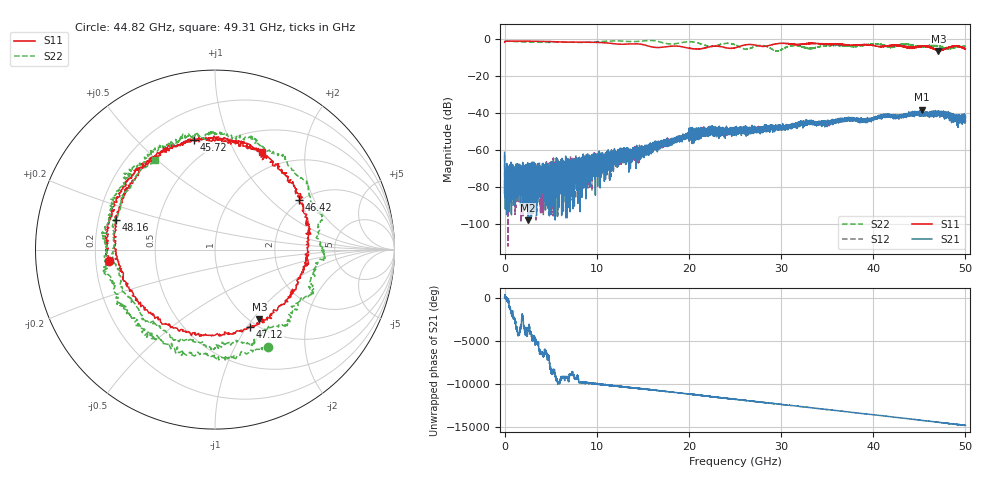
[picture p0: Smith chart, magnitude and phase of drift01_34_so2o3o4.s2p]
!Created with skrf (http://scikit-rf.org).
# Hz S RI R 50.0
!freq ReS11 ImS11 ReS21 ImS21 ReS12 ImS12 ReS22 ImS22
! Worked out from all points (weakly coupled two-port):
!   10001 points, 300 kHz to 50 GHz, reference 50 ohm
!   highest |S21| = -38.37 dB at 45.31 GHz (marker M1); lowest = -98.1 dB at 2.52 GHz (marker M2)
!   lowest |S11| = -6.7 dB at 47.07 GHz (marker M3), VSWR 2.70, Z = 55 - j54.1 ohm
!   |S11| at or under -10 dB: nowhere
!   |S22| runs from -6.8 to -1.0 dB; largest |S21 - S12| = 0.0036
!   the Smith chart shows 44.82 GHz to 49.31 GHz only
!   S11 on the Smith chart (normalised r, x): 44.82 GHz: 0.25, -0.05; 45.72 GHz: 0.38, +0.75; 46.42 GHz: 1.96, +1.56; 47.12 GHz: 0.93, -1.04; 48.16 GHz: 0.27, +0.13; 49.31 GHz: 0.76, +1.29
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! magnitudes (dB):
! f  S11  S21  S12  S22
! 300 kHz  -2.1  -61.3  -63.0  -1.3
! 255.3 MHz  -1.4  -87.7  -78.9  -1.4
! 2.52 GHz  -1.4  -98.1  -76.6  -1.9
! 5.095 GHz  -1.7  -74.9  -69.7  -2.1
! 8.335 GHz  -1.9  -67.2  -72.5  -2.1
! 16.67 GHz  -4.8  -58.3  -56.8  -1.6
! 21.83 GHz  -5.0  -51.0  -50.6  -3.8
! 25 GHz  -5.0  -51.7  -49.7  -3.4
! 28.09 GHz  -4.3  -50.2  -49.8  -3.8
! 29.53 GHz  -2.8  -49.0  -48.8  -6.7
! 31.26 GHz  -3.1  -47.4  -47.5  -3.9
! 33.34 GHz  -2.6  -45.5  -45.8  -5.3
! 41.67 GHz  -3.9  -40.8  -41.8  -4.5
! 44.82 GHz  -4.5  -40.2  -40.8  -4.2
! 45.31 GHz  -4.3  -38.4  -40.5  -4.2
! 45.72 GHz  -4.1  -40.0  -40.4  -4.5
! 46.42 GHz  -5.2  -40.1  -41.2  -3.8
! 47.07 GHz  -6.7  -41.3  -40.4  -4.2
! 47.12 GHz  -6.5  -39.8  -40.6  -3.9
! 48.16 GHz  -4.8  -40.3  -41.5  -5.4
! 49.31 GHz  -4.4  -43.4  -43.5  -4.4
! 50 GHz  -5.6  -41.5  -43.6  -4.2
